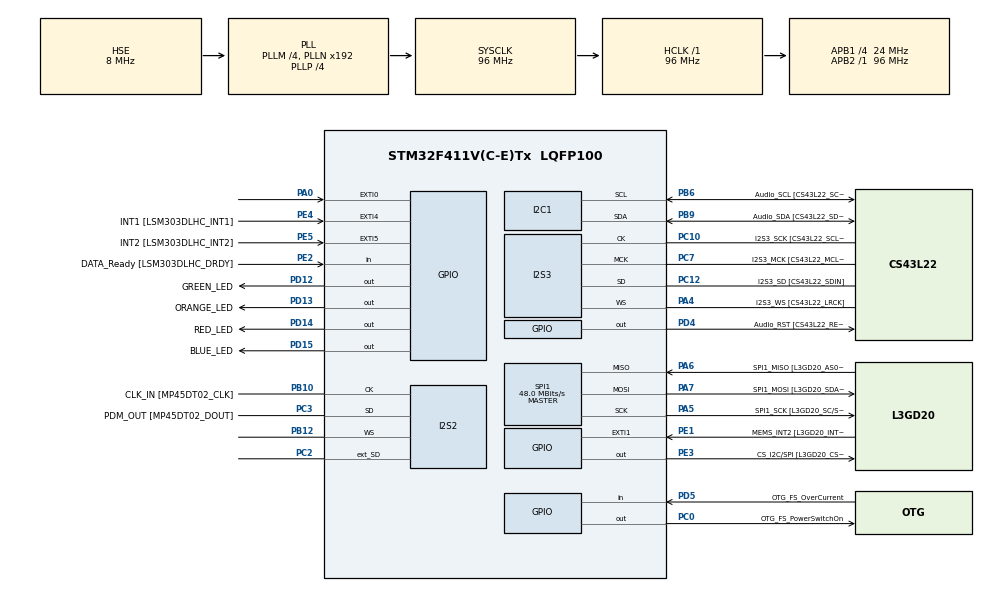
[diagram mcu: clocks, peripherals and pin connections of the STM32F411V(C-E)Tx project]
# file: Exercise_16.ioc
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FREERTOS.BinarySemaphores01=Red2GreenEF,Dynamic,NULL;Green2RedEF,Dynamic,NULL
FREERTOS.Tasks01=GREEN_LED,0,128,Start_GREEN_LED,Default,NULL,Dynamic,NULL,NULL;RED_LED,0,128,Start_RED_LED,Default,NULL,Dynamic,NULL,NULL
I2S2.AudioFreq=I2S_AUDIOFREQ_96K
I2S2.ErrorAudioFreq=0.15 %
I2S2.FullDuplexMode=I2S_FULLDUPLEXMODE_ENABLE
I2S2.Instance=SPI$Index
I2S2.RealAudioFreq=96.153 KHz
I2S2.VirtualMode=I2S_MODE_MASTER
I2S3.AudioFreq=I2S_AUDIOFREQ_96K
I2S3.ErrorAudioFreq=-6.99 %
I2S3.FullDuplexMode=I2S_FULLDUPLEXMODE_DISABLE
I2S3.Instance=SPI$Index
I2S3.RealAudioFreq=89.285 KHz
I2S3.VirtualMode=I2S_MODE_MASTER
Mcu.Family=STM32F4
Mcu.Name=STM32F411V(C-E)Tx
Mcu.Package=LQFP100
NVIC.PriorityGroup=NVIC_PRIORITYGROUP_4
NVIC.TIM1_UP_TIM10_IRQn=true\:0\:0\:false\:false\:true\:false\:false\:true
NVIC.TimeBase=TIM1_UP_TIM10_IRQn
NVIC.TimeBaseIP=TIM1
PA0-WKUP.GPIO_ModeDefaultEXTI=GPIO_MODE_EVT_RISING
PA0-WKUP.Signal=GPXTI0
PA10.GPIO_Label=OTG_FS_ID
PA10.Signal=USB_OTG_FS_ID
PA11.GPIO_Label=OTG_FS_DM
PA11.Signal=USB_OTG_FS_DM
PA12.GPIO_Label=OTG_FS_DP
PA12.Signal=USB_OTG_FS_DP
PA13.GPIO_Label=SWDIO
PA13.Mode=Serial_Wire
PA13.Signal=SYS_JTMS-SWDIO
PA14.GPIO_Label=SWCLK
PA14.Mode=Serial_Wire
PA14.Signal=SYS_JTCK-SWCLK
PA4.GPIO_Label=I2S3_WS [CS43L22_LRCK]
PA4.GPIO_Mode=GPIO_MODE_AF_PP
PA4.GPIO_PuPd=GPIO_NOPULL
PA4.GPIO_Speed=GPIO_SPEED_FREQ_LOW
PA4.Mode=Half_Duplex_Master
PA4.Signal=I2S3_WS
PA5.GPIO_Label=SPI1_SCK [L3GD20_SC/SPC]
PA5.Mode=Full_Duplex_Master
PA5.Signal=SPI1_SCK
PA6.GPIO_Label=SPI1_MISO [L3GD20_AS0/SDO]
PA6.Mode=Full_Duplex_Master
PA6.Signal=SPI1_MISO
PA7.GPIO_Label=SPI1_MOSI [L3GD20_SDA/SDI/SDO]
PA7.Mode=Full_Duplex_Master
PA7.Signal=SPI1_MOSI
PA9.GPIO_Label=VBUS_FS
PA9.Signal=USB_OTG_FS_VBUS
PB10.GPIO_Label=CLK_IN [MP45DT02_CLK]
PB10.Mode=Full_Duplex_Master
PB10.Signal=I2S2_CK
PB12.Mode=Full_Duplex_Master
PB12.Signal=I2S2_WS
PB3.GPIO_Label=SWO
PB3.Signal=SYS_JTDO-SWO
PB6.GPIO_Label=Audio_SCL [CS43L22_SCL]
PB6.GPIO_Mode=GPIO_MODE_AF_OD
PB6.GPIO_PuPd=GPIO_NOPULL
PB6.GPIO_Speed=GPIO_SPEED_FREQ_LOW
PB6.Mode=I2C
PB6.Signal=I2C1_SCL
PB9.GPIO_Label=Audio_SDA [CS43L22_SDA]
PB9.GPIO_Mode=GPIO_MODE_AF_OD
PB9.GPIO_PuPd=GPIO_NOPULL
PB9.GPIO_Speed=GPIO_SPEED_FREQ_LOW
PB9.Mode=I2C
PB9.Signal=I2C1_SDA
PC0.GPIO_Label=OTG_FS_PowerSwitchOn
PC0.PinState=GPIO_PIN_SET
PC0.Signal=GPIO_Output
PC10.GPIO_Label=I2S3_SCK [CS43L22_SCLK]
PC10.GPIO_Mode=GPIO_MODE_AF_PP
PC10.GPIO_PuPd=GPIO_NOPULL
PC10.GPIO_Speed=GPIO_SPEED_FREQ_LOW
PC10.Mode=Half_Duplex_Master
PC10.Signal=I2S3_CK
PC12.GPIO_Label=I2S3_SD [CS43L22_SDIN]
PC12.GPIO_Mode=GPIO_MODE_AF_PP
PC12.GPIO_PuPd=GPIO_NOPULL
PC12.GPIO_Speed=GPIO_SPEED_FREQ_LOW
PC12.Mode=Half_Duplex_Master
PC12.Signal=I2S3_SD
PC14-OSC32_IN.GPIO_Label=PC14-OSC32_IN
PC14-OSC32_IN.Mode=LSE-External-Oscillator
PC14-OSC32_IN.Signal=RCC_OSC32_IN
PC15-OSC32_OUT.GPIO_Label=PC15-OSC32_OUT
PC15-OSC32_OUT.Mode=LSE-External-Oscillator
PC15-OSC32_OUT.Signal=RCC_OSC32_OUT
PC2.Mode=Full_Duplex_Master
PC2.Signal=I2S2_ext_SD
PC3.GPIO_Label=PDM_OUT [MP45DT02_DOUT]
PC3.Mode=Full_Duplex_Master
PC3.Signal=I2S2_SD
PC7.GPIO_Label=I2S3_MCK [CS43L22_MCLK]
PC7.GPIO_Mode=GPIO_MODE_AF_PP
PC7.GPIO_PuPd=GPIO_NOPULL
PC7.GPIO_Speed=GPIO_SPEED_FREQ_LOW
PC7.Mode=Master_Clock_Activated
PC7.Signal=I2S3_MCK
PD12.GPIO_Label=GREEN_LED
PD12.GPIO_PuPd=GPIO_NOPULL
PD12.GPIO_Speed=GPIO_SPEED_FREQ_LOW
PD12.Signal=GPIO_Output
PD13.GPIO_Label=ORANGE_LED
PD13.GPIO_PuPd=GPIO_NOPULL
PD13.GPIO_Speed=GPIO_SPEED_FREQ_LOW
PD13.Signal=GPIO_Output
PD14.GPIO_Label=RED_LED
PD14.GPIO_PuPd=GPIO_NOPULL
PD14.GPIO_Speed=GPIO_SPEED_FREQ_LOW
PD14.Signal=GPIO_Output
PD15.GPIO_Label=BLUE_LED
PD15.GPIO_PuPd=GPIO_NOPULL
PD15.GPIO_Speed=GPIO_SPEED_FREQ_LOW
PD15.Signal=GPIO_Output
PD4.GPIO_Label=Audio_RST [CS43L22_RESET]
PD4.Signal=GPIO_Output
PD5.GPIO_Label=OTG_FS_OverCurrent
PD5.Signal=GPIO_Input
PE1.GPIO_Label=MEMS_INT2 [L3GD20_INT2]
PE1.GPIO_ModeDefaultEXTI=GPIO_MODE_EVT_RISING
PE1.Signal=GPXTI1
PE2.GPIO_Label=DATA_Ready [LSM303DLHC_DRDY]
PE2.Signal=GPIO_Input
PE3.GPIO_Label=CS_I2C/SPI [L3GD20_CS_I2C/SPI]
PE3.Signal=GPIO_Output
PE4.GPIO_Label=INT1 [LSM303DLHC_INT1]
PE4.GPIO_ModeDefaultEXTI=GPIO_MODE_EVT_RISING
PE4.Signal=GPXTI4
PE5.GPIO_Label=INT2 [LSM303DLHC_INT2]
PE5.GPIO_ModeDefaultEXTI=GPIO_MODE_EVT_RISING
PE5.Signal=GPXTI5
PH0\ -\ OSC_IN.GPIO_Label=PH0-OSC_IN
PH0\ -\ OSC_IN.Mode=HSE-External-Oscillator
PH0\ -\ OSC_IN.Signal=RCC_OSC_IN
PH1\ -\ OSC_OUT.GPIO_Label=PH1-OSC_OUT
PH1\ -\ OSC_OUT.Mode=HSE-External-Oscillator
PH1\ -\ OSC_OUT.Signal=RCC_OSC_OUT
ProjectManager.HeapSize=0x200
ProjectManager.StackSize=0x400
ProjectManager.TargetToolchain=STM32CubeIDE
RCC.48MHZClocksFreq_Value=48000000
RCC.AHBFreq_Value=96000000
RCC.APB1CLKDivider=RCC_HCLK_DIV4
RCC.APB1Freq_Value=24000000
RCC.APB1TimFreq_Value=48000000
RCC.APB2Freq_Value=96000000
RCC.APB2TimFreq_Value=96000000
RCC.CortexFreq_Value=96000000
RCC.HCLKFreq_Value=96000000
RCC.HSE_VALUE=8000000
RCC.HSI_VALUE=16000000
RCC.PLLI2SM=5
RCC.PLLI2SN=200
RCC.PLLM=4
RCC.PLLP=RCC_PLLP_DIV4
RCC.PLLQ=8
RCC.PLLSourceVirtual=RCC_PLLSOURCE_HSE
RCC.SYSCLKFreq_VALUE=96000000
RCC.SYSCLKSource=RCC_SYSCLKSOURCE_PLLCLK
RCC.VCOOutputFreq_Value=384000000
SPI1.BaudRatePrescaler=SPI_BAUDRATEPRESCALER_2
SPI1.CalculateBaudRate=48.0 MBits/s
SPI1.Direction=SPI_DIRECTION_2LINES
SPI1.Mode=SPI_MODE_MASTER
SPI1.VirtualType=VM_MASTER
VP_FREERTOS_VS_CMSIS_V1.Mode=CMSIS_V1
VP_SYS_VS_tim1.Mode=TIM1
board=STM32F411E-DISCO

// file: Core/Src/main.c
/* USER CODE BEGIN Header */
/**
  ******************************************************************************
  * @file           : main.c
  * @brief          : Main program body
  ******************************************************************************
  * @attention
  *
  * <h2><center>&copy; Copyright (c) 2024 STMicroelectronics.
  * All rights reserved.</center></h2>
  *
  * This software component is licensed by ST under Ultimate Liberty license
  * SLA0044, the "License"; You may not use this file except in compliance with
  * the License. You may obtain a copy of the License at:
  *                             www.st.com/SLA0044
  *
  ******************************************************************************
  */
/* USER CODE END Header */

#include "main.h"
#include "cmsis_os.h"

I2C_HandleTypeDef hi2c1;

I2S_HandleTypeDef hi2s2;
I2S_HandleTypeDef hi2s3;

SPI_HandleTypeDef hspi1;

osThreadId GREEN_LEDHandle;
osThreadId RED_LEDHandle;
osSemaphoreId Red2GreenEFHandle;
osSemaphoreId Green2RedEFHandle;

void SystemClock_Config(void);
static void MX_GPIO_Init(void);
static void MX_I2C1_Init(void);
static void MX_I2S2_Init(void);
static void MX_I2S3_Init(void);
static void MX_SPI1_Init(void);
void Start_GREEN_LED(void const * argument);
void Start_RED_LED(void const * argument);

int main(void)
{

  /* MCU Configuration--------------------------------------------------------*/

  /* Reset of all peripherals, Initializes the Flash interface and the Systick. */
  HAL_Init();

  /* Configure the system clock */
  SystemClock_Config();

  /* Initialize all configured peripherals */
  MX_GPIO_Init();
  MX_I2C1_Init();
  MX_I2S2_Init();
  MX_I2S3_Init();
  MX_SPI1_Init();

  /* Create the semaphores(s) */
  /* definition and creation of Red2GreenEF */
  osSemaphoreDef(Red2GreenEF);
  Red2GreenEFHandle = osSemaphoreCreate(osSemaphore(Red2GreenEF), 1);

  /* definition and creation of Green2RedEF */
  osSemaphoreDef(Green2RedEF);
  Green2RedEFHandle = osSemaphoreCreate(osSemaphore(Green2RedEF), 1);

  /* USER CODE BEGIN RTOS_SEMAPHORES */
  osSemaphoreWait(Red2GreenEFHandle, 0);
  osSemaphoreWait(Green2RedEFHandle, 0);
  /* USER CODE END RTOS_SEMAPHORES */

  /* Create the thread(s) */
  /* definition and creation of GREEN_LED */
  osThreadDef(GREEN_LED, Start_GREEN_LED, osPriorityNormal, 0, 128);
  GREEN_LEDHandle = osThreadCreate(osThread(GREEN_LED), NULL);

  /* definition and creation of RED_LED */
  osThreadDef(RED_LED, Start_RED_LED, osPriorityNormal, 0, 128);
  RED_LEDHandle = osThreadCreate(osThread(RED_LED), NULL);

  /* Start scheduler */
  osKernelStart();

  /* We should never get here as control is now taken by the scheduler */

  /* Infinite loop */
  while (1)
  {

  }
}

void SystemClock_Config(void)
{
  RCC_OscInitTypeDef RCC_OscInitStruct = {0};
  RCC_ClkInitTypeDef RCC_ClkInitStruct = {0};
  RCC_PeriphCLKInitTypeDef PeriphClkInitStruct = {0};

  /** Configure the main internal regulator output voltage
  */
  __HAL_RCC_PWR_CLK_ENABLE();
  __HAL_PWR_VOLTAGESCALING_CONFIG(PWR_REGULATOR_VOLTAGE_SCALE1);
  /** Initializes the CPU, AHB and APB busses clocks
  */
  RCC_OscInitStruct.OscillatorType = RCC_OSCILLATORTYPE_HSE;
  RCC_OscInitStruct.HSEState = RCC_HSE_ON;
  RCC_OscInitStruct.PLL.PLLState = RCC_PLL_ON;
  RCC_OscInitStruct.PLL.PLLSource = RCC_PLLSOURCE_HSE;
  RCC_OscInitStruct.PLL.PLLM = 4;
  RCC_OscInitStruct.PLL.PLLN = 192;
  RCC_OscInitStruct.PLL.PLLP = RCC_PLLP_DIV4;
  RCC_OscInitStruct.PLL.PLLQ = 8;
  if (HAL_RCC_OscConfig(&RCC_OscInitStruct) != HAL_OK)
  {
    Error_Handler();
  }
  /** Initializes the CPU, AHB and APB busses clocks
  */
  RCC_ClkInitStruct.ClockType = RCC_CLOCKTYPE_HCLK|RCC_CLOCKTYPE_SYSCLK
                              |RCC_CLOCKTYPE_PCLK1|RCC_CLOCKTYPE_PCLK2;
  RCC_ClkInitStruct.SYSCLKSource = RCC_SYSCLKSOURCE_PLLCLK;
  RCC_ClkInitStruct.AHBCLKDivider = RCC_SYSCLK_DIV1;
  RCC_ClkInitStruct.APB1CLKDivider = RCC_HCLK_DIV4;
  RCC_ClkInitStruct.APB2CLKDivider = RCC_HCLK_DIV1;

  if (HAL_RCC_ClockConfig(&RCC_ClkInitStruct, FLASH_LATENCY_3) != HAL_OK)
  {
    Error_Handler();
  }
  PeriphClkInitStruct.PeriphClockSelection = RCC_PERIPHCLK_I2S;
  PeriphClkInitStruct.PLLI2S.PLLI2SN = 200;
  PeriphClkInitStruct.PLLI2S.PLLI2SM = 5;
  PeriphClkInitStruct.PLLI2S.PLLI2SR = 2;
  if (HAL_RCCEx_PeriphCLKConfig(&PeriphClkInitStruct) != HAL_OK)
  {
    Error_Handler();
  }
}

static void MX_I2C1_Init(void)
{

  hi2c1.Instance = I2C1;
  hi2c1.Init.ClockSpeed = 100000;
  hi2c1.Init.DutyCycle = I2C_DUTYCYCLE_2;
  hi2c1.Init.OwnAddress1 = 0;
  hi2c1.Init.AddressingMode = I2C_ADDRESSINGMODE_7BIT;
  hi2c1.Init.DualAddressMode = I2C_DUALADDRESS_DISABLE;
  hi2c1.Init.OwnAddress2 = 0;
  hi2c1.Init.GeneralCallMode = I2C_GENERALCALL_DISABLE;
  hi2c1.Init.NoStretchMode = I2C_NOSTRETCH_DISABLE;
  if (HAL_I2C_Init(&hi2c1) != HAL_OK)
  {
    Error_Handler();
  }

}

static void MX_I2S2_Init(void)
{

  hi2s2.Instance = SPI2;
  hi2s2.Init.Mode = I2S_MODE_MASTER_TX;
  hi2s2.Init.Standard = I2S_STANDARD_PHILIPS;
  hi2s2.Init.DataFormat = I2S_DATAFORMAT_16B;
  hi2s2.Init.MCLKOutput = I2S_MCLKOUTPUT_DISABLE;
  hi2s2.Init.AudioFreq = I2S_AUDIOFREQ_96K;
  hi2s2.Init.CPOL = I2S_CPOL_LOW;
  hi2s2.Init.ClockSource = I2S_CLOCK_PLL;
  hi2s2.Init.FullDuplexMode = I2S_FULLDUPLEXMODE_ENABLE;
  if (HAL_I2S_Init(&hi2s2) != HAL_OK)
  {
    Error_Handler();
  }

}

static void MX_I2S3_Init(void)
{

  hi2s3.Instance = SPI3;
  hi2s3.Init.Mode = I2S_MODE_MASTER_TX;
  hi2s3.Init.Standard = I2S_STANDARD_PHILIPS;
  hi2s3.Init.DataFormat = I2S_DATAFORMAT_16B;
  hi2s3.Init.MCLKOutput = I2S_MCLKOUTPUT_ENABLE;
  hi2s3.Init.AudioFreq = I2S_AUDIOFREQ_96K;
  hi2s3.Init.CPOL = I2S_CPOL_LOW;
  hi2s3.Init.ClockSource = I2S_CLOCK_PLL;
  hi2s3.Init.FullDuplexMode = I2S_FULLDUPLEXMODE_DISABLE;
  if (HAL_I2S_Init(&hi2s3) != HAL_OK)
  {
    Error_Handler();
  }

}

static void MX_SPI1_Init(void)
{

  /* SPI1 parameter configuration*/
  hspi1.Instance = SPI1;
  hspi1.Init.Mode = SPI_MODE_MASTER;
  hspi1.Init.Direction = SPI_DIRECTION_2LINES;
  hspi1.Init.DataSize = SPI_DATASIZE_8BIT;
  hspi1.Init.CLKPolarity = SPI_POLARITY_LOW;
  hspi1.Init.CLKPhase = SPI_PHASE_1EDGE;
  hspi1.Init.NSS = SPI_NSS_SOFT;
  hspi1.Init.BaudRatePrescaler = SPI_BAUDRATEPRESCALER_2;
  hspi1.Init.FirstBit = SPI_FIRSTBIT_MSB;
  hspi1.Init.TIMode = SPI_TIMODE_DISABLE;
  hspi1.Init.CRCCalculation = SPI_CRCCALCULATION_DISABLE;
  hspi1.Init.CRCPolynomial = 10;
  if (HAL_SPI_Init(&hspi1) != HAL_OK)
  {
    Error_Handler();
  }

}

static void MX_GPIO_Init(void)
{
  GPIO_InitTypeDef GPIO_InitStruct = {0};

  /* GPIO Ports Clock Enable */
  __HAL_RCC_GPIOE_CLK_ENABLE();
  __HAL_RCC_GPIOC_CLK_ENABLE();
  __HAL_RCC_GPIOH_CLK_ENABLE();
  __HAL_RCC_GPIOA_CLK_ENABLE();
  __HAL_RCC_GPIOB_CLK_ENABLE();
  __HAL_RCC_GPIOD_CLK_ENABLE();

  /*Configure GPIO pin Output Level */
  HAL_GPIO_WritePin(CS_I2C_SPI_GPIO_Port, CS_I2C_SPI_Pin, GPIO_PIN_RESET);

  /*Configure GPIO pin Output Level */
  HAL_GPIO_WritePin(OTG_FS_PowerSwitchOn_GPIO_Port, OTG_FS_PowerSwitchOn_Pin, GPIO_PIN_SET);

  /*Configure GPIO pin Output Level */
  HAL_GPIO_WritePin(GPIOD, GREEN_LED_Pin|ORANGE_LED_Pin|RED_LED_Pin|BLUE_LED_Pin
                          |Audio_RST_Pin, GPIO_PIN_RESET);

  /*Configure GPIO pin : DATA_Ready_Pin */
  GPIO_InitStruct.Pin = DATA_Ready_Pin;
  GPIO_InitStruct.Mode = GPIO_MODE_INPUT;
  GPIO_InitStruct.Pull = GPIO_NOPULL;
  HAL_GPIO_Init(DATA_Ready_GPIO_Port, &GPIO_InitStruct);

  /*Configure GPIO pin : CS_I2C_SPI_Pin */
  GPIO_InitStruct.Pin = CS_I2C_SPI_Pin;
  GPIO_InitStruct.Mode = GPIO_MODE_OUTPUT_PP;
  GPIO_InitStruct.Pull = GPIO_NOPULL;
  GPIO_InitStruct.Speed = GPIO_SPEED_FREQ_LOW;
  HAL_GPIO_Init(CS_I2C_SPI_GPIO_Port, &GPIO_InitStruct);

  /*Configure GPIO pins : INT1_Pin INT2_Pin MEMS_INT2_Pin */
  GPIO_InitStruct.Pin = INT1_Pin|INT2_Pin|MEMS_INT2_Pin;
  GPIO_InitStruct.Mode = GPIO_MODE_EVT_RISING;
  GPIO_InitStruct.Pull = GPIO_NOPULL;
  HAL_GPIO_Init(GPIOE, &GPIO_InitStruct);

  /*Configure GPIO pin : OTG_FS_PowerSwitchOn_Pin */
  GPIO_InitStruct.Pin = OTG_FS_PowerSwitchOn_Pin;
  GPIO_InitStruct.Mode = GPIO_MODE_OUTPUT_PP;
  GPIO_InitStruct.Pull = GPIO_NOPULL;
  GPIO_InitStruct.Speed = GPIO_SPEED_FREQ_LOW;
  HAL_GPIO_Init(OTG_FS_PowerSwitchOn_GPIO_Port, &GPIO_InitStruct);

  /*Configure GPIO pin : PA0 */
  GPIO_InitStruct.Pin = GPIO_PIN_0;
  GPIO_InitStruct.Mode = GPIO_MODE_EVT_RISING;
  GPIO_InitStruct.Pull = GPIO_NOPULL;
  HAL_GPIO_Init(GPIOA, &GPIO_InitStruct);

  /*Configure GPIO pins : GREEN_LED_Pin ORANGE_LED_Pin RED_LED_Pin BLUE_LED_Pin
                           Audio_RST_Pin */
  GPIO_InitStruct.Pin = GREEN_LED_Pin|ORANGE_LED_Pin|RED_LED_Pin|BLUE_LED_Pin
                          |Audio_RST_Pin;
  GPIO_InitStruct.Mode = GPIO_MODE_OUTPUT_PP;
  GPIO_InitStruct.Pull = GPIO_NOPULL;
  GPIO_InitStruct.Speed = GPIO_SPEED_FREQ_LOW;
  HAL_GPIO_Init(GPIOD, &GPIO_InitStruct);

  /*Configure GPIO pin : VBUS_FS_Pin */
  GPIO_InitStruct.Pin = VBUS_FS_Pin;
  GPIO_InitStruct.Mode = GPIO_MODE_INPUT;
  GPIO_InitStruct.Pull = GPIO_NOPULL;
  HAL_GPIO_Init(VBUS_FS_GPIO_Port, &GPIO_InitStruct);

  /*Configure GPIO pins : OTG_FS_ID_Pin OTG_FS_DM_Pin OTG_FS_DP_Pin */
  GPIO_InitStruct.Pin = OTG_FS_ID_Pin|OTG_FS_DM_Pin|OTG_FS_DP_Pin;
  GPIO_InitStruct.Mode = GPIO_MODE_AF_PP;
  GPIO_InitStruct.Pull = GPIO_NOPULL;
  GPIO_InitStruct.Speed = GPIO_SPEED_FREQ_VERY_HIGH;
  GPIO_InitStruct.Alternate = GPIO_AF10_OTG_FS;
  HAL_GPIO_Init(GPIOA, &GPIO_InitStruct);

  /*Configure GPIO pin : OTG_FS_OverCurrent_Pin */
  GPIO_InitStruct.Pin = OTG_FS_OverCurrent_Pin;
  GPIO_InitStruct.Mode = GPIO_MODE_INPUT;
  GPIO_InitStruct.Pull = GPIO_NOPULL;
  HAL_GPIO_Init(OTG_FS_OverCurrent_GPIO_Port, &GPIO_InitStruct);

}

void Start_GREEN_LED(void const * argument)
{
  /* USER CODE BEGIN 5 */
  int delayCnt_1 = 5000;
  int freqCnt_1 = 50;

  int delayCnt_2 = 10000;
  int freqCnt_2 = 50;
  /* Infinite loop */
  for(;;)
  {
	for(int i = 0; i<delayCnt_1/freqCnt_1; i++)
	{
      HAL_GPIO_TogglePin(GREEN_LED_GPIO_Port, GREEN_LED_Pin);
	  osDelay(freqCnt_1);
	}
	osSemaphoreWait(Red2GreenEFHandle, osWaitForever);

	for(int i = 0; i<delayCnt_2/freqCnt_2; i++)
	{
	  HAL_GPIO_TogglePin(GREEN_LED_GPIO_Port, GREEN_LED_Pin);
      osDelay(freqCnt_2);
	}
	osSemaphoreRelease(Green2RedEFHandle);
  }
  /* USER CODE END 5 */
}

void Start_RED_LED(void const * argument)
{
  /* USER CODE BEGIN Start_RED_LED */
  int delayCnt_1 = 10000;
  int freqCnt_1 = 50;

  int delayCnt_2 = 5000;
  int freqCnt_2 = 50;
  /* Infinite loop */
  for(;;)
  {
	for(int i = 0; i<delayCnt_1/freqCnt_1; i++)
	{
	  HAL_GPIO_TogglePin(RED_LED_GPIO_Port, RED_LED_Pin);
	  osDelay(freqCnt_1);
	}
	osSemaphoreRelease(Red2GreenEFHandle);

	for(int i = 0; i<delayCnt_2/freqCnt_2; i++)
	{
	  HAL_GPIO_TogglePin(RED_LED_GPIO_Port, RED_LED_Pin);
	  osDelay(freqCnt_2);
	}
	osSemaphoreWait(Green2RedEFHandle,osWaitForever);
  }
  /* USER CODE END Start_RED_LED */
}

void HAL_TIM_PeriodElapsedCallback(TIM_HandleTypeDef *htim)
{
  if (htim->Instance == TIM1) {
    HAL_IncTick();
  }
}

void Error_Handler(void)
{
}

/************************ (C) COPYRIGHT STMicroelectronics *****END OF FILE****/
